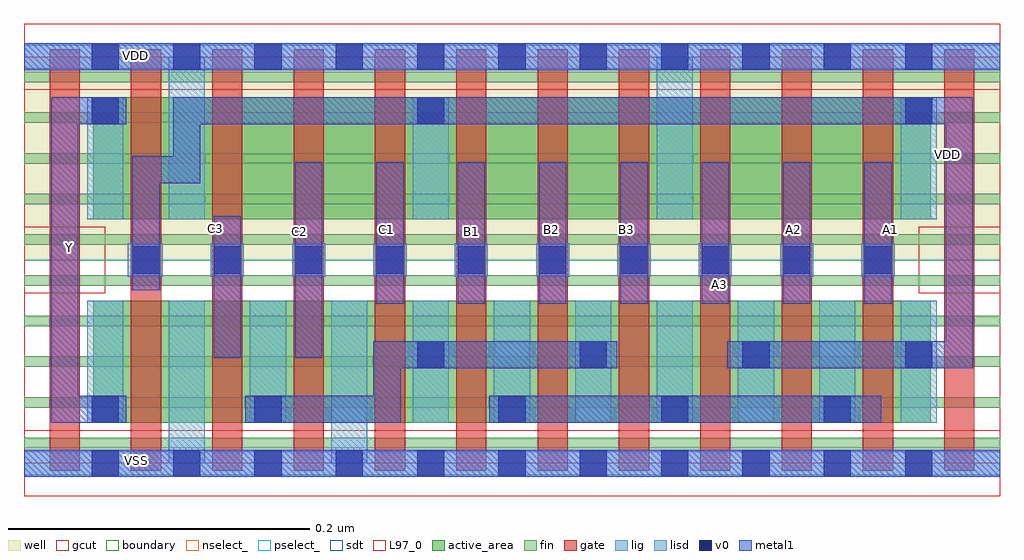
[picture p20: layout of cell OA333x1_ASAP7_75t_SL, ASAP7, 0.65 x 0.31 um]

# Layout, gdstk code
import gdstk
lib = gdstk.Library(unit=1e-6, precision=2.5e-10)
def R(c, l, rs):  # rectangles x0, y0, x1, y1
    for r in rs: c.add(gdstk.rectangle(r[:2], r[2:], *l))
def A(c, l, x, y, w, h, nx, ny, dx, dy):  # array of equal rectangles
    R(c, l, [(x+i*dx, y+j*dy, x+i*dx+w, y+j*dy+h) for i in range(nx) for j in range(ny)])
def P(c, l, *ps):  # polygons
    for p in ps: c.add(gdstk.Polygon(p, *l))
well = (1, 0)
fin = (2, 0)
gate = (7, 0)
gcut = (10, 0)
active_area = (11, 0)
nselect_ = (12, 0)
pselect_ = (13, 0)
lig = (16, 0)
lisd = (17, 0)
v0 = (18, 0)
metal1 = (19, 0)
sdt = (88, 0)
L97_0 = (97, 0)
boundary = (100, 0)

oa333x1_asap7_75t_sl = lib.new_cell('OA333x1_ASAP7_75t_SL')
R(oa333x1_asap7_75t_sl, well, [(0,0.135,0.162,0.27), (0.054,0.135,0.648,0.27)])
A(oa333x1_asap7_75t_sl, fin, 0, 0.01, 0.162, 0.007, 1, 10, 0, 0.027)
A(oa333x1_asap7_75t_sl, fin, 0.054, 0.01, 0.594, 0.007, 1, 10, 0, 0.027)
A(oa333x1_asap7_75t_sl, gate, 0.125, -0.005, 0.02, 0.28, 10, 1, 0.054, 0)
R(oa333x1_asap7_75t_sl, gate, [(0.017,-0.005,0.037,0.275), (0.071,-0.005,0.091,0.275), (0.071,-0.005,0.091,0.275), (0.071,-0.005,0.091,0.275), (0.125,-0.005,0.145,0.275)])
R(oa333x1_asap7_75t_sl, gcut, [(0,-0.022,0.162,0.022), (0.054,-0.022,0.648,0.022), (0.054,-0.022,0.152,0.022), (0.55,-0.022,0.648,0.022), (0,0.113,0.054,0.157), (0.594,0.113,0.648,0.157), (0,0.248,0.162,0.292), (0.054,0.248,0.648,0.292), (0.054,0.248,0.152,0.292), (0.55,0.248,0.648,0.292)])
R(oa333x1_asap7_75t_sl, active_area, [(0.046,0.027,0.602,0.108), (0.046,0.162,0.602,0.243)])
R(oa333x1_asap7_75t_sl, nselect_, [(0,0,0.648,0.135)])
R(oa333x1_asap7_75t_sl, pselect_, [(0,0.135,0.162,0.27), (0.054,0.135,0.648,0.27)])
A(oa333x1_asap7_75t_sl, lig, 0.124, 0.124, 0.022, 0.022, 9, 1, 0.054, 0)
R(oa333x1_asap7_75t_sl, lig, [(0,-0.008,0.162,0.008), (0.054,-0.008,0.648,0.008), (0.069,0.124,0.092,0.146), (0,0.262,0.162,0.278), (0.054,0.262,0.648,0.278)])
A(oa333x1_asap7_75t_sl, lisd, 0.042, 0.027, 0.024, 0.081, 3, 1, 0.108, 0)
A(oa333x1_asap7_75t_sl, lisd, 0.312, 0.027, 0.024, 0.081, 6, 1, 0.054, 0)
R(oa333x1_asap7_75t_sl, lisd, [(0.096,0,0.12,0.108), (0.204,0,0.228,0.108), (0.042,0.162,0.066,0.243), (0.096,0.162,0.12,0.27), (0.258,0.162,0.282,0.243), (0.42,0.162,0.444,0.27), (0.582,0.162,0.606,0.243)])
A(oa333x1_asap7_75t_sl, v0, 0.045, -0.009, 0.018, 0.018, 11, 2, 0.054, 0.27)
A(oa333x1_asap7_75t_sl, v0, 0.315, 0.027, 0.018, 0.018, 3, 1, 0.108, 0)
A(oa333x1_asap7_75t_sl, v0, 0.261, 0.063, 0.018, 0.018, 4, 1, 0.108, 0)
A(oa333x1_asap7_75t_sl, v0, 0.072, 0.126, 0.018, 0.018, 10, 1, 0.054, 0)
R(oa333x1_asap7_75t_sl, v0, [(0.045,0.027,0.063,0.045), (0.153,0.027,0.171,0.045), (0.045,0.225,0.063,0.243), (0.261,0.225,0.279,0.243), (0.585,0.225,0.603,0.243)])
A(oa333x1_asap7_75t_sl, metal1, 0.234, 0.106, 0.018, 0.094, 7, 1, 0.054, 0)
R(oa333x1_asap7_75t_sl, metal1, [(0,-0.009,0.648,0.009), (0.309,0.027,0.569,0.045), (0.126,0.07,0.144,0.164), (0.18,0.07,0.198,0.2), (0,0.261,0.648,0.279)])
P(oa333x1_asap7_75t_sl, metal1, [(0.068,0.045),(0.036,0.045),(0.036,0.225),(0.068,0.225),(0.068,0.243),(0.018,0.243),(0.018,0.027),(0.068,0.027)],
  [(0.63,0.243),(0.099,0.243),(0.099,0.204),(0.072,0.204),(0.072,0.115),(0.09,0.115),(0.09,0.186),(0.117,0.186),(0.117,0.225),(0.612,0.225),(0.612,0.081),(0.467,0.081),(0.467,0.063),(0.63,0.063)],
  [(0.394,0.081),(0.232,0.081),(0.232,0.045),(0.147,0.045),(0.147,0.027),(0.25,0.027),(0.25,0.063),(0.394,0.063)])
A(oa333x1_asap7_75t_sl, sdt, 0.096, 0.027, 0.024, 0.081, 10, 1, 0.054, 0)
A(oa333x1_asap7_75t_sl, sdt, 0.096, 0.162, 0.024, 0.081, 4, 1, 0.162, 0)
R(oa333x1_asap7_75t_sl, sdt, [(0.042,0.027,0.066,0.108), (0.042,0.027,0.066,0.108), (0.096,0.027,0.12,0.108), (0.042,0.162,0.066,0.243), (0.042,0.162,0.066,0.243), (0.096,0.162,0.12,0.243)])
R(oa333x1_asap7_75t_sl, L97_0, [(0,0,0.162,0.27), (0.054,0,0.648,0.27)])
R(oa333x1_asap7_75t_sl, boundary, [(0,0,0.162,0.27), (0.054,0,0.648,0.27)])
oa333x1_asap7_75t_sl.add(gdstk.Label('VSS', (0.37,-0.039), layer=3, texttype=251))
oa333x1_asap7_75t_sl.add(gdstk.Label('VDD', (0.613,0.205), layer=1, texttype=251))
oa333x1_asap7_75t_sl.add(gdstk.Label('A3', (0.462,0.119), layer=19, texttype=251))
oa333x1_asap7_75t_sl.add(gdstk.Label('A2', (0.511,0.155), layer=19, texttype=251))
oa333x1_asap7_75t_sl.add(gdstk.Label('C2', (0.183,0.154), layer=19, texttype=251))
oa333x1_asap7_75t_sl.add(gdstk.Label('VSS', (0.075,0.002), layer=19, texttype=251))
oa333x1_asap7_75t_sl.add(gdstk.Label('VDD', (0.074,0.271), layer=19, texttype=251))
oa333x1_asap7_75t_sl.add(gdstk.Label('A1', (0.575,0.155), layer=19, texttype=251))
oa333x1_asap7_75t_sl.add(gdstk.Label('B1', (0.297,0.154), layer=19, texttype=251))
oa333x1_asap7_75t_sl.add(gdstk.Label('B2', (0.35,0.155), layer=19, texttype=251))
oa333x1_asap7_75t_sl.add(gdstk.Label('B3', (0.4,0.155), layer=19, texttype=251))
oa333x1_asap7_75t_sl.add(gdstk.Label('C3', (0.127,0.156), layer=19, texttype=251))
oa333x1_asap7_75t_sl.add(gdstk.Label('C1', (0.241,0.155), layer=19, texttype=251))
oa333x1_asap7_75t_sl.add(gdstk.Label('Y', (0.03,0.143), layer=19, texttype=251))

lib.write_gds('OA333x1_ASAP7_75t_SL.gds')
